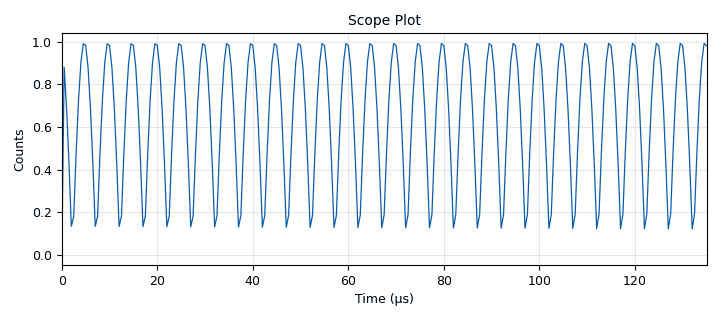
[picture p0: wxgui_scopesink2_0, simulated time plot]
<?xml version='1.0' encoding='utf-8'?>
<?grc format='1' created='3.7.10'?>
<flow_graph>
<block>
<key>options</key>
<param><key>id</key><value>ask_keyer</value></param>
<param><key>generate_options</key><value>wx_gui</value></param>
</block>
<block>
<key>variable</key>
<param><key>id</key><value>samp_rate</value></param>
<param><key>value</key><value>2e6</value></param>
</block>
<block>
<key>variable</key>
<param><key>id</key><value>symbol_length</value></param>
<param><key>value</key><value>750e-6</value></param>
</block>
<block>
<key>variable</key>
<param><key>id</key><value>tx_freq</value></param>
<param><key>value</key><value>433.9e6</value></param>
</block>
<block>
<key>analog_const_source_x</key>
<param><key>id</key><value>analog_const_source_x_0</value></param>
<param><key>const</key><value>0</value></param>
<param><key>type</key><value>float</value></param>
</block>
<block>
<key>analog_const_source_x</key>
<param><key>id</key><value>analog_const_source_x_0_0</value></param>
<param><key>const</key><value>0</value></param>
<param><key>type</key><value>float</value></param>
</block>
<block>
<key>analog_const_source_x</key>
<param><key>id</key><value>analog_const_source_x_0_1</value></param>
<param><key>const</key><value>1</value></param>
<param><key>type</key><value>float</value></param>
</block>
<block>
<key>analog_sig_source_x</key>
<param><key>id</key><value>analog_sig_source_x_0</value></param>
<param><key>amp</key><value>1</value></param>
<param><key>freq</key><value>tx_freq</value></param>
<param><key>offset</key><value>0</value></param>
<param><key>type</key><value>float</value></param>
<param><key>samp_rate</key><value>samp_rate</value></param>
<param><key>waveform</key><value>analog.GR_COS_WAVE</value></param>
</block>
<block>
<key>blocks_complex_to_mag</key>
<param><key>id</key><value>blocks_complex_to_mag_0</value></param>
</block>
<block>
<key>blocks_float_to_complex</key>
<param><key>id</key><value>blocks_float_to_complex_0</value></param>
</block>
<block>
<key>blocks_multiply_xx</key>
<param><key>id</key><value>blocks_multiply_xx_0</value></param>
<param><key>type</key><value>float</value></param>
</block>
<block>
<key>blocks_patterned_interleaver</key>
<param><key>id</key><value>blocks_patterned_interleaver_0</value></param>
<param><key>type</key><value>float</value></param>
<param><key>pattern</key><value>[2,0,1]</value></param>
</block>
<block>
<key>blocks_patterned_interleaver</key>
<param><key>id</key><value>blocks_patterned_interleaver_0_0</value></param>
<param><key>type</key><value>float</value></param>
<param><key>pattern</key><value>[0,0,0,0,0,0,0,0,0,0,0,0,0,0,0,0,0,0,0,0,0,0,0,0,0,0,0,0,0,0,0,0,0,0,0,0,0,0,0,0,0,0,0,0,0,0,0,0,0,0,0,0,0,0,0,0,0,0,0,0,0,0,0,0,0,0,0,0,0,0,0,0,0,0,0,1,1,1,1,1,1,1,1,1,1,1,1,1,1,1,1,1,1,1,1]</value></param>
</block>
<block>
<key>blocks_repeat</key>
<param><key>id</key><value>blocks_repeat_0</value></param>
<param><key>interp</key><value>int(symbol_length*samp_rate)</value></param>
<param><key>type</key><value>float</value></param>
</block>
<block>
<key>blocks_throttle</key>
<param><key>id</key><value>blocks_throttle_0</value></param>
<param><key>samples_per_second</key><value>samp_rate</value></param>
<param><key>type</key><value>complex</value></param>
</block>
<block>
<key>blocks_throttle</key>
<param><key>id</key><value>blocks_throttle_0_0</value></param>
<param><key>samples_per_second</key><value>samp_rate</value></param>
<param><key>type</key><value>float</value></param>
</block>
<block>
<key>blocks_vector_source_x</key>
<param><key>id</key><value>blocks_vector_source_x_0</value></param>
<param><key>type</key><value>float</value></param>
<param><key>repeat</key><value>True</value></param>
<param><key>vector</key><value>[0,0,1,1,1,1,0,0,1,1,0,1,0,1,0,1,0,0,0,0,0,0,1,1,0]</value></param>
</block>
<block>
<key>osmosdr_sink</key>
<param><key>id</key><value>osmosdr_sink_0</value></param>
<param><key>bb_gain0</key><value>20</value></param>
<param><key>freq0</key><value>tx_freq</value></param>
<param><key>if_gain0</key><value>20</value></param>
<param><key>gain0</key><value>20</value></param>
<param><key>args</key><value></value></param>
<param><key>type</key><value>fc32</value></param>
<param><key>sample_rate</key><value>samp_rate</value></param>
</block>
<block>
<key>wxgui_scopesink2</key>
<param><key>id</key><value>wxgui_scopesink2_0</value></param>
<param><key>ac_couple</key><value>False</value></param>
<param><key>num_inputs</key><value>1</value></param>
<param><key>samp_rate</key><value>samp_rate</value></param>
<param><key>t_scale</key><value>0</value></param>
<param><key>title</key><value>Scope Plot</value></param>
<param><key>trig_mode</key><value>wxgui.TRIG_MODE_AUTO</value></param>
<param><key>type</key><value>float</value></param>
<param><key>v_offset</key><value>0</value></param>
<param><key>v_scale</key><value>0</value></param>
<param><key>xy_mode</key><value>False</value></param>
<param><key>y_axis_label</key><value>Counts</value></param>
</block>
<connection><source_block_id>analog_const_source_x_0</source_block_id><sink_block_id>blocks_patterned_interleaver_0</sink_block_id><source_key>0</source_key><sink_key>2</sink_key></connection>
<connection><source_block_id>analog_const_source_x_0_0</source_block_id><sink_block_id>blocks_patterned_interleaver_0_0</sink_block_id><source_key>0</source_key><sink_key>1</sink_key></connection>
<connection><source_block_id>analog_const_source_x_0_1</source_block_id><sink_block_id>blocks_patterned_interleaver_0</sink_block_id><source_key>0</source_key><sink_key>1</sink_key></connection>
<connection><source_block_id>analog_sig_source_x_0</source_block_id><sink_block_id>blocks_multiply_xx_0</sink_block_id><source_key>0</source_key><sink_key>1</sink_key></connection>
<connection><source_block_id>blocks_complex_to_mag_0</source_block_id><sink_block_id>wxgui_scopesink2_0</sink_block_id><source_key>0</source_key><sink_key>0</sink_key></connection>
<connection><source_block_id>blocks_float_to_complex_0</source_block_id><sink_block_id>blocks_complex_to_mag_0</sink_block_id><source_key>0</source_key><sink_key>0</sink_key></connection>
<connection><source_block_id>blocks_float_to_complex_0</source_block_id><sink_block_id>blocks_throttle_0</sink_block_id><source_key>0</source_key><sink_key>0</sink_key></connection>
<connection><source_block_id>blocks_multiply_xx_0</source_block_id><sink_block_id>blocks_float_to_complex_0</sink_block_id><source_key>0</source_key><sink_key>0</sink_key></connection>
<connection><source_block_id>blocks_patterned_interleaver_0</source_block_id><sink_block_id>blocks_patterned_interleaver_0_0</sink_block_id><source_key>0</source_key><sink_key>0</sink_key></connection>
<connection><source_block_id>blocks_patterned_interleaver_0_0</source_block_id><sink_block_id>blocks_repeat_0</sink_block_id><source_key>0</source_key><sink_key>0</sink_key></connection>
<connection><source_block_id>blocks_repeat_0</source_block_id><sink_block_id>blocks_throttle_0_0</sink_block_id><source_key>0</source_key><sink_key>0</sink_key></connection>
<connection><source_block_id>blocks_throttle_0</source_block_id><sink_block_id>osmosdr_sink_0</sink_block_id><source_key>0</source_key><sink_key>0</sink_key></connection>
<connection><source_block_id>blocks_throttle_0_0</source_block_id><sink_block_id>blocks_multiply_xx_0</sink_block_id><source_key>0</source_key><sink_key>0</sink_key></connection>
<connection><source_block_id>blocks_vector_source_x_0</source_block_id><sink_block_id>blocks_patterned_interleaver_0</sink_block_id><source_key>0</source_key><sink_key>0</sink_key></connection>
</flow_graph>
